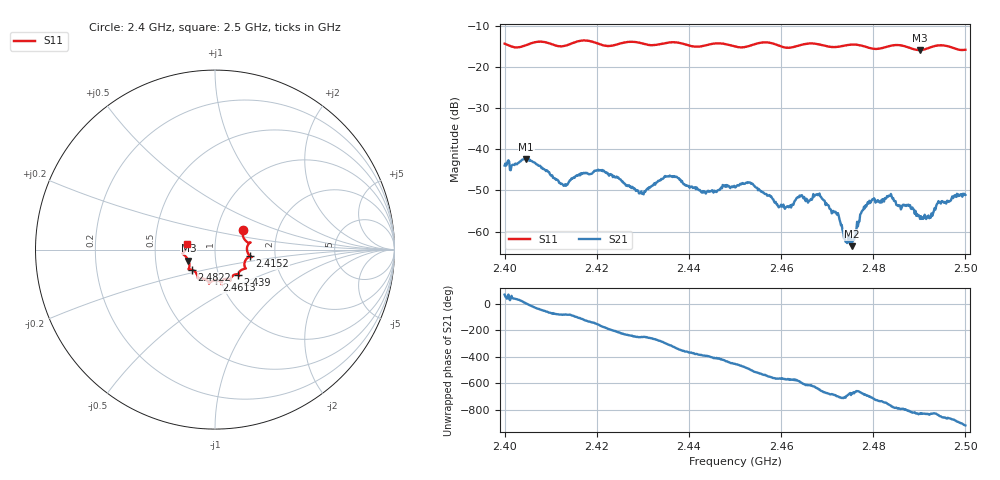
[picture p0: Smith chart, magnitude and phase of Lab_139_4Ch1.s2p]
# Hz S RI R 50
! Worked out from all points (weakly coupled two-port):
!   601 points, 2.4 GHz to 2.5 GHz, reference 50 ohm
!   highest |S21| = -42.33 dB at 2.4047 GHz (marker M1); lowest = -63.5 dB at 2.4753 GHz (marker M2)
!   lowest |S11| = -15.9 dB at 2.4902 GHz (marker M3), VSWR 1.38, Z = 36.9 - j4.6 ohm
!   |S11| at or under -10 dB: start of sweep to end of sweep
!   S12 and S22 are empty: the file has one direction only
!   S11 on the Smith chart (normalised r, x): 2.4 GHz: 1.33, +0.31; 2.4152 GHz: 1.48, -0.11; 2.439 GHz: 1.24, -0.36; 2.4613 GHz: 0.96, -0.34; 2.4822 GHz: 0.75, -0.17; 2.5 GHz: 0.73, +0.05
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2.4e9  0.1558 0.1116  0.00217 0.00597  0 0  0 0
2.404667e9  0.1789 0.0426  0.00763 0.000493  0 0  0 0
2.4125e9  0.178 -0.00194  0.000471 -0.00376  0 0  0 0
2.415167e9  0.1949 -0.0364  -0.000397 -0.00447  0 0  0 0
2.416667e9  0.2044 -0.0422  -0.00191 -0.00459  0 0  0 0
2.421167e9  0.1775 -0.05  -0.00552 -0.000933  0 0  0 0
2.429667e9  0.1619 -0.1076  -0.0011 0.00288  0 0  0 0
2.433333e9  0.1322 -0.1325  0.000382 0.00412  0 0  0 0
2.439e9  0.1284 -0.1387  0.00377 0.000236  0 0  0 0
2.45e9  0.0686 -0.1632  -0.000115 -0.00344  0 0  0 0
2.453333e9  0.0373 -0.1776  -0.00285 -0.00272  0 0  0 0
2.461333e9  0.00761 -0.1707  -0.00179 0.00097  0 0  0 0
2.466667e9  -0.033 -0.19  -0.000533 0.00238  0 0  0 0
2.468167e9  -0.033 -0.1851  0.000715 0.0027  0 0  0 0
2.472e9  -0.0655 -0.162  0.00152 0.000672  0 0  0 0
2.474e9  -0.0861 -0.161  0.000734 0.000166  0 0  0 0
2.475333e9  -0.0928 -0.162  0.00046 0.000481  0 0  0 0
2.478333e9  -0.0981 -0.1457  0.00176 0.00111  0 0  0 0
2.482167e9  -0.1286 -0.1121  0.0023 -0.000864  0 0  0 0
2.483333e9  -0.1399 -0.1103  0.00217 -0.00166  0 0  0 0
2.490167e9  -0.148 -0.0608  -0.00039 -0.00137  0 0  0 0
2.5e9  -0.1582 0.0333  -0.00267 0.00082  0 0  0 0
